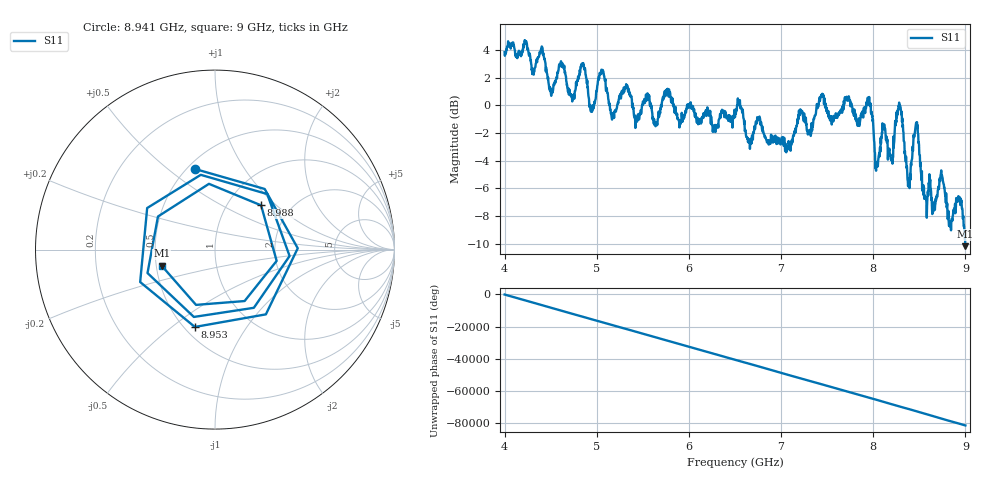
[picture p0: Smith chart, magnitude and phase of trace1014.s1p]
! Created with skrf 1.8.0 (http://scikit-rf.org).
# Hz S RI R 50.0
!freq ReS11 ImS11
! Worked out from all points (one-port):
!   1601 points, 4 GHz to 9 GHz, reference 50 ohm
!   lowest |S11| = -10.2 dB at 9 GHz (marker M1), VSWR 1.90, Z = 26.7 - j5.33 ohm
!   |S11| at or under -10 dB: 8.998812 GHz to end of sweep
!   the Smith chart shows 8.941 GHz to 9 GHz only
!   S11 on the Smith chart (normalised r, x): 8.941 GHz: 0.54, +0.62; 8.953 GHz: 0.56, -0.61; 8.988 GHz: 1.42, +0.80; 9 GHz: 0.53, -0.11
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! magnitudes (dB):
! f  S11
! 4 GHz  3.8
! 4.403 GHz  4.2
! 4.503 GHz  0.8
! 4.625 GHz  2.8
! 4.734 GHz  0.3
! 4.85 GHz  3.0
! 4.944 GHz  -0.5
! 5.053 GHz  2.5
! 5.162 GHz  -0.9
! 5.25 GHz  0.5
! 5.875 GHz  -1.0
! 6.5 GHz  -0.9
! 7.125 GHz  -2.6
! 7.438 GHz  0.8
! 7.75 GHz  0.3
! 7.959 GHz  0.0
! 8.044 GHz  -4.4
! 8.112 GHz  -1.5
! 8.203 GHz  -3.9
! 8.284 GHz  0.0
! 8.375 GHz  -5.4
! 8.462 GHz  -1.4
! 8.559 GHz  -6.5
! 8.834 GHz  -8.7
! 8.941 GHz  -6.7
! 8.953 GHz  -7.0
! 8.988 GHz  -9.0
! 9 GHz  -10.2
